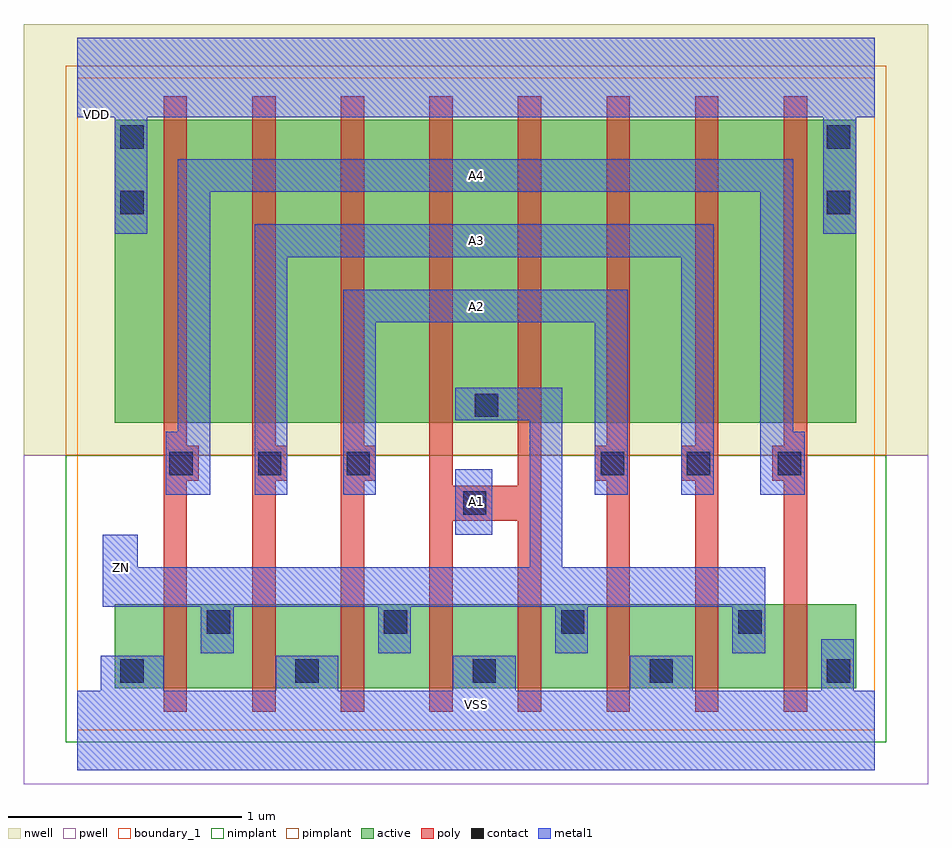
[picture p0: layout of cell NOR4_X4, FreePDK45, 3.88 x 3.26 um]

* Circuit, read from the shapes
.subckt NOR4_X4 A1 A2 A3 A4 VDD VSS ZN
M1 ZN A4 VSS VSUBS nfet w=0.36u l=0.1u m=2
M2 VSS A3 ZN VSUBS nfet w=0.36u l=0.1u m=2
M3 ZN A2 VSS VSUBS nfet w=0.36u l=0.1u m=2
M4 VSS A1 ZN VSUBS nfet w=0.36u l=0.1u m=2
M5 n1 A4 VDD n2 pfet w=1.3u l=0.1u
M6 n3 A3 n1 n2 pfet w=1.3u l=0.1u
M7 n4 A2 n3 n2 pfet w=1.3u l=0.1u
M8 ZN A1 n4 n2 pfet w=1.3u l=0.1u
M9 n5 A1 ZN n2 pfet w=1.3u l=0.1u
M10 n6 A2 n5 n2 pfet w=1.3u l=0.1u
M11 n7 A3 n6 n2 pfet w=1.3u l=0.1u
M12 VDD A4 n7 n2 pfet w=1.3u l=0.1u
.ends

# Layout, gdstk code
import gdstk
lib = gdstk.Library(unit=1e-6, precision=1e-09)
def R(c, l, rs):  # rectangles x0, y0, x1, y1
    for r in rs: c.add(gdstk.rectangle(r[:2], r[2:], *l))
def A(c, l, x, y, w, h, nx, ny, dx, dy):  # array of equal rectangles
    R(c, l, [(x+i*dx, y+j*dy, x+i*dx+w, y+j*dy+h) for i in range(nx) for j in range(ny)])
def P(c, l, *ps):  # polygons
    for p in ps: c.add(gdstk.Polygon(p, *l))
active = (1, 0)
pwell = (2, 0)
nwell = (3, 0)
nimplant = (4, 0)
pimplant = (5, 0)
poly = (9, 0)
contact = (10, 0)
metal1 = (11, 0)
boundary_1 = (235, 1)

nor4_x4 = lib.new_cell('NOR4_X4')
R(nor4_x4, active, [(0.16,0.18,3.34,0.54), (0.16,1.32,3.34,2.62)])
R(nor4_x4, pwell, [(-0.23,-0.23,3.65,1.18)])
R(nor4_x4, nwell, [(-0.23,1.18,3.65,3.03)])
R(nor4_x4, nimplant, [(-0.05,-0.05,3.47,1.18)])
R(nor4_x4, pimplant, [(-0.05,1.18,3.47,2.85)])
P(nor4_x4, poly, [(2.98,1.07),(3.03,1.07),(3.03,0.08),(3.13,0.08),(3.13,2.72),(3.03,2.72),(3.03,1.22),(2.98,1.22)],
  [(2.59,1.07),(2.65,1.07),(2.65,0.08),(2.75,0.08),(2.75,2.72),(2.65,2.72),(2.65,1.22),(2.59,1.22)],
  [(2.22,1.07),(2.27,1.07),(2.27,0.08),(2.37,0.08),(2.37,2.72),(2.27,2.72),(2.27,1.22),(2.22,1.22)],
  [(1.51,0.08),(1.61,0.08),(1.61,0.9),(1.89,0.9),(1.89,0.08),(1.99,0.08),(1.99,2.72),(1.89,2.72),(1.89,1.05),(1.61,1.05),(1.61,2.72),(1.51,2.72)],
  [(1.13,0.08),(1.23,0.08),(1.23,1.07),(1.28,1.07),(1.28,1.22),(1.23,1.22),(1.23,2.72),(1.13,2.72)],
  [(0.75,0.08),(0.85,0.08),(0.85,1.07),(0.9,1.07),(0.9,1.22),(0.85,1.22),(0.85,2.72),(0.75,2.72)],
  [(0.37,0.08),(0.47,0.08),(0.47,1.07),(0.52,1.07),(0.52,1.22),(0.47,1.22),(0.47,2.72),(0.37,2.72)])
A(nor4_x4, contact, 0.935, 0.205, 0.1, 0.1, 4, 1, 0.76, 0)
A(nor4_x4, contact, 0.555, 0.415, 0.1, 0.1, 4, 1, 0.76, 0)
A(nor4_x4, contact, 0.395, 1.095, 0.1, 0.1, 3, 1, 0.38, 0)
R(nor4_x4, contact, [(0.185,0.205,0.285,0.305), (1.655,0.925,1.755,1.025), (2.245,1.095,2.345,1.195), (2.615,1.095,2.715,1.195), (3.005,1.095,3.105,1.195), (1.705,1.345,1.805,1.445), (0.185,2.215,0.285,2.315), (3.215,2.215,3.315,2.315), (0.185,2.495,0.285,2.595), (3.215,2.495,3.315,2.595)])
R(nor4_x4, metal1, [(1.62,0.84,1.78,1.12), (1.62,0.84,1.78,1.12)])
P(nor4_x4, metal1, [(1.62,1.33),(1.94,1.33),(1.94,0.7),(0.26,0.7),(0.26,0.84),(0.11,0.84),(0.11,0.53),(0.53,0.53),(0.53,0.33),(0.67,0.33),(0.67,0.53),(1.29,0.53),(1.29,0.33),(1.43,0.33),(1.43,0.53),(2.05,0.53),(2.05,0.33),(2.19,0.33),(2.19,0.53),(2.81,0.53),(2.81,0.33),(2.95,0.33),(2.95,0.7),(2.08,0.7),(2.08,1.47),(1.62,1.47)],
  [(0.38,1.01),(0.57,1.01),(0.57,2.31),(2.93,2.31),(2.93,1.01),(3.12,1.01),(3.12,1.28),(3.07,1.28),(3.07,2.45),(0.43,2.45),(0.43,1.28),(0.38,1.28)],
  [(1.14,1.01),(1.28,1.01),(1.28,1.75),(2.22,1.75),(2.22,1.01),(2.36,1.01),(2.36,1.89),(1.14,1.89)],
  [(0,-0.17),(3.42,-0.17),(3.42,0.17),(3.33,0.17),(3.33,0.39),(3.19,0.39),(3.19,0.17),(2.64,0.17),(2.64,0.32),(2.37,0.32),(2.37,0.17),(1.88,0.17),(1.88,0.32),(1.61,0.32),(1.61,0.17),(1.12,0.17),(1.12,0.32),(0.85,0.32),(0.85,0.17),(0.37,0.17),(0.37,0.32),(0.1,0.32),(0.1,0.17),(0,0.17)],
  [(0.76,1.01),(0.9,1.01),(0.9,2.03),(2.59,2.03),(2.59,1.01),(2.73,1.01),(2.73,2.17),(0.76,2.17)],
  [(0,2.63),(0.16,2.63),(0.16,2.13),(0.3,2.13),(0.3,2.63),(3.2,2.63),(3.2,2.13),(3.34,2.13),(3.34,2.63),(3.42,2.63),(3.42,2.97),(0,2.97)],
  [(0,2.63),(0.16,2.63),(0.16,2.13),(0.3,2.13),(0.3,2.63),(3.2,2.63),(3.2,2.13),(3.34,2.13),(3.34,2.63),(3.42,2.63),(3.42,2.97),(0,2.97)],
  [(0,-0.17),(3.42,-0.17),(3.42,0.17),(3.33,0.17),(3.33,0.39),(3.19,0.39),(3.19,0.17),(2.64,0.17),(2.64,0.32),(2.37,0.32),(2.37,0.17),(1.88,0.17),(1.88,0.32),(1.61,0.32),(1.61,0.17),(1.12,0.17),(1.12,0.32),(0.85,0.32),(0.85,0.17),(0.37,0.17),(0.37,0.32),(0.1,0.32),(0.1,0.17),(0,0.17)],
  [(0.38,1.01),(0.57,1.01),(0.57,2.31),(2.93,2.31),(2.93,1.01),(3.12,1.01),(3.12,1.28),(3.07,1.28),(3.07,2.45),(0.43,2.45),(0.43,1.28),(0.38,1.28)],
  [(1.62,1.33),(1.94,1.33),(1.94,0.7),(0.26,0.7),(0.26,0.84),(0.11,0.84),(0.11,0.53),(0.53,0.53),(0.53,0.33),(0.67,0.33),(0.67,0.53),(1.29,0.53),(1.29,0.33),(1.43,0.33),(1.43,0.53),(2.05,0.53),(2.05,0.33),(2.19,0.33),(2.19,0.53),(2.81,0.53),(2.81,0.33),(2.95,0.33),(2.95,0.7),(2.08,0.7),(2.08,1.47),(1.62,1.47)],
  [(0.76,1.01),(0.9,1.01),(0.9,2.03),(2.59,2.03),(2.59,1.01),(2.73,1.01),(2.73,2.17),(0.76,2.17)],
  [(1.14,1.01),(1.28,1.01),(1.28,1.75),(2.22,1.75),(2.22,1.01),(2.36,1.01),(2.36,1.89),(1.14,1.89)])
R(nor4_x4, boundary_1, [(0,0,3.42,2.8)])
nor4_x4.add(gdstk.Label('ZN', (0.19,0.7), layer=11, texttype=0))
nor4_x4.add(gdstk.Label('VSS', (1.71,0.11), layer=11, texttype=0))
nor4_x4.add(gdstk.Label('VDD', (0.08,2.64), layer=11, texttype=0))
nor4_x4.add(gdstk.Label('A4', (1.71,2.38), layer=11, texttype=0))
nor4_x4.add(gdstk.Label('A3', (1.71,2.1), layer=11, texttype=0))
nor4_x4.add(gdstk.Label('A2', (1.71,1.82), layer=11, texttype=0))
nor4_x4.add(gdstk.Label('A1', (1.71,0.98), layer=11, texttype=0))

lib.write_gds('NOR4_X4.gds')
